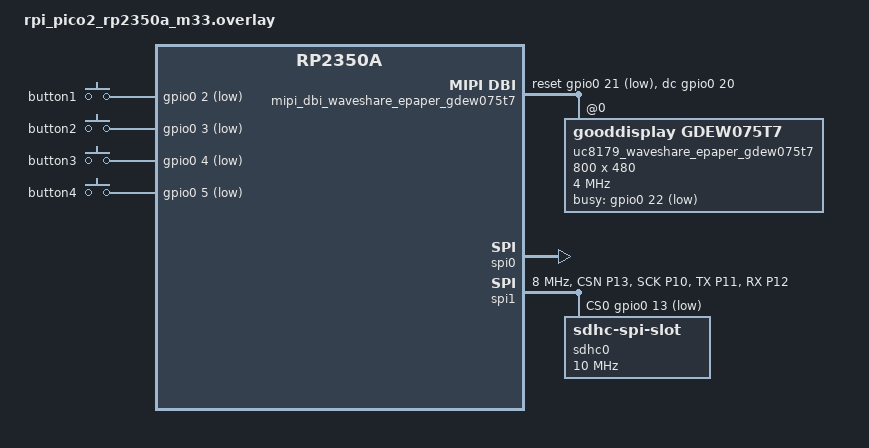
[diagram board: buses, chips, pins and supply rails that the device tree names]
/*
 * SPDX-FileCopyrightText: 2025 Anna-Lena Marx <mail@marx.engineer>
 *
 * SPDX-License-Identifier: MPL-2.0
 */

#include <zephyr/dt-bindings/input/input-event-codes.h>
#include <zephyr/dt-bindings/lvgl/lvgl.h>

/ {

  chosen {
    zephyr,display = &uc8179_waveshare_epaper_gdew075t7;
  };

  mipi_dbi_waveshare_epaper_gdew075t7 {
    compatible = "zephyr,mipi-dbi-spi";
    spi-dev = <&spi0>; //spi@0 -> GPIO 16-19
    dc-gpios = <&gpio0 20 GPIO_ACTIVE_HIGH>;
    reset-gpios = <&gpio0 21 GPIO_ACTIVE_LOW>;
    write-only;
    #address-cells = <1>;
    #size-cells = <0>;

    uc8179_waveshare_epaper_gdew075t7: uc8179@0 {
      compatible = "gooddisplay,gdew075t7", "ultrachip,uc8179";
      mipi-max-frequency = <4000000>;
      reg = <0>;
      width = <800>;
      height = <480>;
      busy-gpios = <&gpio0 22 GPIO_ACTIVE_LOW>;

      softstart = [ 17 17 28 17 ];

      full {
        pwr = [ 07 07 3f 3f 09];
        cdi = <0x07>;
        tcon = <0x60>;
        pll = <0x30>;
      };

      partial {
        pwr = [ 07 07 3f 3f 09 ];
				cdi = <0x07>;
				pll = <0x3c>;
				vdcs = <0x08>;

        lutc = [
					00 01 0E 00 00 01
					00 00 00 00 00 00
					00 00 00 00 00 00
					00 00 00 00 00 00
					00 00 00 00 00 00
					00 00 00 00 00 00
					00 00 00 00 00 00
					00 00
				];

				lutww = [
					00 01 0E 00 00 01
					00 00 00 00 00 00
					00 00 00 00 00 00
					00 00 00 00 00 00
					00 00 00 00 00 00
					00 00 00 00 00 00
					00 00 00 00 00 00
				];

				lutkw = [
					20 01 0E 00 00 01
					00 00 00 00 00 00
					00 00 00 00 00 00
					00 00 00 00 00 00
					00 00 00 00 00 00
					00 00 00 00 00 00
					00 00 00 00 00 00
				];

				lutwk = [
					10 01 0E 00 00 01
					00 00 00 00 00 00
					00 00 00 00 00 00
					00 00 00 00 00 00
					00 00 00 00 00 00
					00 00 00 00 00 00
					00 00 00 00 00 00
				];

				lutkk = [
					00 01 0E 00 00 01
					00 00 00 00 00 00
					00 00 00 00 00 00
					00 00 00 00 00 00
					00 00 00 00 00 00
					00 00 00 00 00 00
					00 00 00 00 00 00
				];
      };
    };
  };

  keys: keys {
    compatible = "gpio-keys";
    button1: button1 {
      gpios = <&gpio0 2 GPIO_ACTIVE_LOW>;
      zephyr,code = <INPUT_KEY_1>;
    };

    button2: button2 {
      gpios = <&gpio0 3 GPIO_ACTIVE_LOW>;
      zephyr,code = <INPUT_KEY_2>;
    };

    button3: button3 {
      gpios = <&gpio0 4 GPIO_ACTIVE_LOW>;
      zephyr,code = <INPUT_KEY_3>;
    };

    button4: button4 {
      gpios = <&gpio0 5 GPIO_ACTIVE_LOW>;
      zephyr,code = <INPUT_KEY_4>;
    };
  };

  lvgl_button_input: lvgl_button_input {
    compatible = "zephyr,lvgl-button-input";
    input = <&keys>;
    input-codes = <INPUT_KEY_1 INPUT_KEY_2 INPUT_KEY_3 INPUT_KEY_4>;
    coordinates = <10 470>, <360 470>, <450 470>, <770 470>;
  };
};

&spi0 {
  status = "okay";
};

// Pinmux defines:
// https: //docs.zephyrproject.org/apidoc/latest/rpi-pico-pinctrl-common_8h_source.html
&pinctrl {
  spi1_default: spi1_default {
    group1 {
      pinmux = <SPI1_CSN_P13>, <SPI1_SCK_P10>, <SPI1_TX_P11>;
    };
    group2 {
      pinmux = <SPI1_RX_P12>;
      input-enable;
    };
  };
};

&spi1 {
  clock-frequency = <DT_FREQ_M(8)>;
  status = "okay";
  pinctrl-0 = <&spi1_default>;
  pinctrl-names = "default";

  cs-gpios = <&gpio0 13 GPIO_ACTIVE_LOW>;
  sdhc0: sdhc@0 {
    compatible = "zephyr,sdhc-spi-slot";
    reg = <0>;
    status = "okay";
    mmc {
      compatible = "zephyr,sdmmc-disk";
      disk-name = "SD";
      status = "okay";
    };
    spi-max-frequency = < 10000000 >;
  };
};

&i2c0 {
  status = "disabled";
};

&i2c1 {
  status = "disabled";
};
